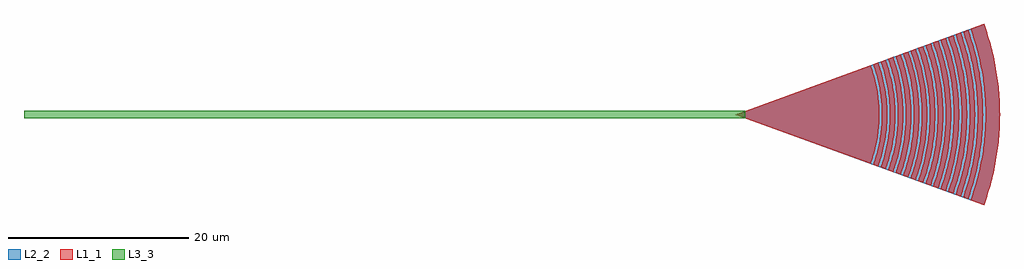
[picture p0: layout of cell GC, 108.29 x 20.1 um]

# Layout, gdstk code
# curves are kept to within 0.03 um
import gdstk
lib = gdstk.Library(unit=1e-6, precision=1e-09)
def R(c, l, rs):  # rectangles x0, y0, x1, y1
    for r in rs: c.add(gdstk.rectangle(r[:2], r[2:], *l))
def P(c, l, *ps):  # polygons
    for p in ps: c.add(gdstk.Polygon(p, *l))
L1_1 = (1, 1)
L2_2 = (2, 2)
L3_3 = (3, 3)

c_gc = lib.new_cell('GC')
P(c_gc, L1_1, [(18.901,0),(33.936,-5.472),(34.253,-4.508),(34.508,-3.525),(34.7,-2.528),(34.829,-1.521),(34.899,0.254),(34.772,2.025),(34.45,3.772),(33.936,5.472)],
  [(34.768,-5.775),(35.236,-4.275),(35.518,-2.997),(35.725,-1.439),(35.785,-0.131),(35.725,1.439),(35.518,2.997),(35.236,4.275),(34.768,5.775),(34.208,5.571),(34.594,4.368),(34.835,3.387),(35.049,2.142),(35.167,0.884),(35.167,-0.884),(35.014,-2.392),(34.66,-4.124),(34.208,-5.571)],
  [(35.599,-6.078),(36.074,-4.567),(36.412,-3.021),(36.612,-1.45),(36.67,-0.132),(36.612,1.45),(36.412,3.021),(36.074,4.567),(35.599,6.078),(35.04,5.874),(35.439,4.634),(35.742,3.367),(35.949,2.08),(36.058,0.782),(36.058,-0.782),(35.878,-2.597),(35.572,-4.13),(35.04,-5.874)],
  [(36.431,-6.38),(36.92,-4.828),(37.272,-3.239),(37.485,-1.626),(37.556,0),(37.485,1.626),(37.272,3.239),(36.92,4.828),(36.431,6.38),(35.871,6.177),(36.283,4.9),(36.599,3.597),(36.849,2.008),(36.948,0.67),(36.936,-0.938),(36.741,-2.805),(36.354,-4.642),(35.871,-6.177)],
  [(37.262,-6.683),(37.766,-5.091),(38.132,-3.462),(38.357,-1.807),(38.44,-0.139),(38.381,1.53),(38.132,3.462),(37.766,5.091),(37.262,6.683),(36.703,6.479),(37.2,4.903),(37.558,3.29),(37.773,1.651),(37.845,0),(37.773,-1.651),(37.558,-3.29),(37.2,-4.903),(36.703,-6.479)],
  [(38.094,-6.986),(38.684,-5.079),(39.04,-3.406),(39.254,-1.709),(39.326,0),(39.254,1.709),(39.04,3.406),(38.684,5.079),(38.094,6.986),(37.535,6.782),(38.046,5.166),(38.417,3.513),(38.645,1.834),(38.73,0.141),(38.67,-1.552),(38.417,-3.513),(38.046,-5.166),(37.535,-6.782)],
  [(38.926,-7.288),(39.456,-5.621),(39.9,-3.629),(40.126,-1.894),(40.21,-0.146),(40.15,1.603),(39.9,3.629),(39.456,5.621),(38.926,7.288),(38.366,7.085),(38.891,5.431),(39.275,3.739),(39.517,2.021),(39.615,0),(39.517,-2.021),(39.275,-3.739),(38.891,-5.431),(38.366,-7.085)],
  [(39.757,-7.591),(40.378,-5.6),(40.759,-3.854),(41.024,-1.786),(41.096,0),(41.024,1.786),(40.759,3.854),(40.378,5.6),(39.757,7.591),(39.198,7.387),(39.735,5.697),(40.133,3.969),(40.387,2.214),(40.5,0.148),(40.415,-1.919),(40.185,-3.678),(39.811,-5.412),(39.198,-7.387)],
  [(40.589,-7.894),(41.144,-6.157),(41.617,-4.083),(41.896,-1.974),(41.98,-0.152),(41.92,1.671),(41.669,3.783),(41.223,5.863),(40.589,7.894),(40.029,7.69),(40.58,5.965),(41.044,3.904),(41.286,2.11),(41.385,0),(41.286,-2.11),(41.044,-3.904),(40.58,-5.965),(40.029,-7.69)],
  [(41.42,-8.196),(42.069,-6.128),(42.528,-4.009),(42.768,-2.166),(42.866,0),(42.768,2.166),(42.528,4.009),(42.069,6.128),(41.42,8.196),(40.861,7.993),(41.504,5.937),(41.902,4.134),(42.185,1.998),(42.27,0.154),(42.185,-1.998),(41.902,-4.134),(41.504,-5.937),(40.861,-7.993)],
  [(42.252,-8.499),(42.914,-6.393),(43.387,-4.237),(43.666,-2.048),(43.75,-0.158),(43.666,2.048),(43.387,4.237),(42.914,6.393),(42.252,8.499),(41.693,8.295),(42.349,6.202),(42.759,4.366),(43.056,2.192),(43.155,0),(43.056,-2.192),(42.759,-4.366),(42.349,-6.202),(41.693,-8.295)],
  [(43.084,-8.802),(43.759,-6.661),(44.245,-4.469),(44.538,-2.243),(44.636,0),(44.538,2.243),(44.245,4.469),(43.759,6.661),(43.084,8.802),(42.524,8.598),(43.11,6.776),(43.616,4.601),(43.926,2.39),(44.04,0.16),(43.955,-2.072),(43.672,-4.287),(43.194,-6.468),(42.524,-8.598)],
  [(43.915,-9.104),(44.603,-6.929),(45.102,-4.703),(45.408,-2.442),(45.52,-0.163),(45.436,2.117),(45.301,3.414),(45.102,4.703),(44.603,6.929),(43.915,9.104),(43.356,8.901),(44.038,6.736),(44.53,4.519),(44.826,2.268),(44.925,0),(44.826,-2.268),(44.53,-4.519),(44.038,-6.736),(43.356,-8.901)],
  [(44.747,-9.407),(45.447,-7.199),(45.762,-5.913),(46.016,-4.613),(46.308,-2.315),(46.405,0),(46.308,2.315),(46.016,4.613),(45.762,5.913),(45.447,7.199),(44.747,9.407),(44.187,9.203),(44.883,7.004),(45.387,4.754),(45.697,2.468),(45.81,0.165),(45.785,-1.153),(45.697,-2.468),(45.387,-4.754),(44.883,-7.004),(44.187,-9.203)],
  [(45.578,-9.71),(46.008,-8.437),(46.377,-7.145),(46.874,-4.847),(47.179,-2.516),(47.29,-0.168),(47.266,1.175),(47.179,2.516),(46.874,4.847),(46.377,7.145),(46.008,8.437),(45.578,9.71),(45.019,9.506),(45.726,7.274),(46.243,4.991),(46.566,2.672),(46.663,1.338),(46.695,0),(46.663,-1.338),(46.566,-2.672),(46.243,-4.991),(45.726,-7.274),(45.019,-9.506)],
  [(46.518,-10.052),(46.956,-8.756),(47.333,-7.441),(47.844,-5.103),(48.05,-3.751),(48.193,-2.391),(48.29,0),(48.193,2.391),(48.05,3.751),(47.844,5.103),(47.333,7.441),(46.956,8.756),(46.518,10.052),(45.578,9.71),(46.2,7.793),(46.751,5.508),(47.072,3.518),(47.266,1.175),(47.29,-0.168),(47.25,-1.511),(47.147,-2.851),(46.929,-4.516),(46.684,-5.837),(46.377,-7.145),(46.008,-8.437),(45.578,-9.71)])
P(c_gc, L2_2, [(18.901,0),(46.518,-10.052),(47.244,-7.772),(47.783,-5.44),(48.092,-3.412),(48.259,-1.367),(48.282,0.684),(48.193,2.391),(47.955,4.429),(47.575,6.444),(47.056,8.429),(46.518,10.052)])
R(c_gc, L3_3, [(-60,-0.4,20,0.4)])

lib.write_gds('GC.gds')
